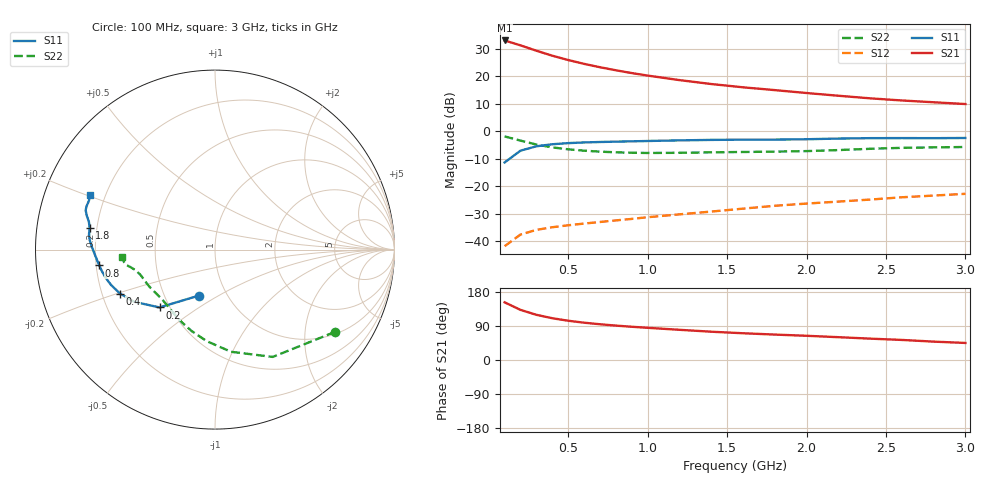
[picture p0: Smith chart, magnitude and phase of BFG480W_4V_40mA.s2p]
! Filename: 440BFG480.001
! Title: BFG480W
! Bias: Vce=4V; Ic=40mA
! Company: Philips Semiconductors NL
! User: Quality&Reliability T&D
! Measure time: 10 Nov 1999 / 12:02:47
#  MHz  S  MA  R 50
! Freq  S11  S21  S12  S22  :
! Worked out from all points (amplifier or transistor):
!   20 points, 100 MHz to 3 GHz, reference 50 ohm
!   highest |S21| = 33.0 dB at 100 MHz (marker M1)
!   |S21| within 3 dB of that: start of sweep to 262.4 MHz
!   unconditionally stable (mu >= 1): 1.046 GHz to end of sweep
!   at 400 MHz: K = 0.59, MSG = 31.2 dB, |S12| = -34.8 dB
!   at 1.2 GHz: K = 1.04, MAG = 23.2 dB, |S12| = -30.2 dB
!   at 3 GHz: K = 1.07, MAG = 14.8 dB, |S12| = -22.7 dB
!   S11 on the Smith chart (normalised r, x): 100 MHz: 0.74, -0.41; 200 MHz: 0.44, -0.35; 400 MHz: 0.27, -0.20; 800 MHz: 0.21, -0.07; 1.8 GHz: 0.17, +0.08; 3 GHz: 0.14, +0.21
100  0.2722 -109.5  44.9 152.2  0.008201 64.6  0.8105 -34.5
200  0.4464 -133.8  36.58 132.3  0.01333 55.1  0.6791 -61.7
300  0.5358 -147.1  29.21 119.2  0.01622 50.7  0.5765 -81.0
400  0.5833 -155.2  23.72 110.2  0.0181 49.4  0.512 -95.2
500  0.6118 -161.2  19.81 103.6  0.01966 49.9  0.472 -106.0
600  0.6293 -165.6  16.87 98.5  0.02112 51.1  0.4459 -114.2
700  0.6411 -169.1  14.65 94.3  0.02258 53.1  0.4284 -120.8
800  0.6506 -172.2  12.89 90.8  0.02409 55.1  0.4163 -126.3
900  0.6594 -174.8  11.47 87.7  0.02567 57.5  0.4087 -131.1
1000  0.6686 -177.3  10.33 84.9  0.02753 59.2  0.4053 -135.4
1200  0.6863 178.7  8.55 79.7  0.03106 62.4  0.4078 -142.7
1400  0.6998 175.8  7.255 74.7  0.03487 64.9  0.4161 -148.1
1600  0.707 173.0  6.325 70.6  0.0394 67.2  0.4222 -152.2
1800  0.7089 170.1  5.623 67.1  0.04445 69.0  0.4285 -156.4
2000  0.7197 167.5  4.977 63.9  0.04874 70.7  0.4381 -161.2
2200  0.74 165.1  4.444 60.2  0.05296 71.4  0.4573 -165.5
2400  0.7532 163.1  3.986 56.4  0.05763 71.6  0.4822 -168.4
2600  0.7554 161.3  3.644 53.0  0.06344 71.6  0.5022 -170.2
2800  0.7531 159.0  3.381 48.5  0.06813 70.7  0.5121 -172.3
3000  0.7584 156.2  3.139 45.0  0.07333 70.4  0.5199 -175.4
